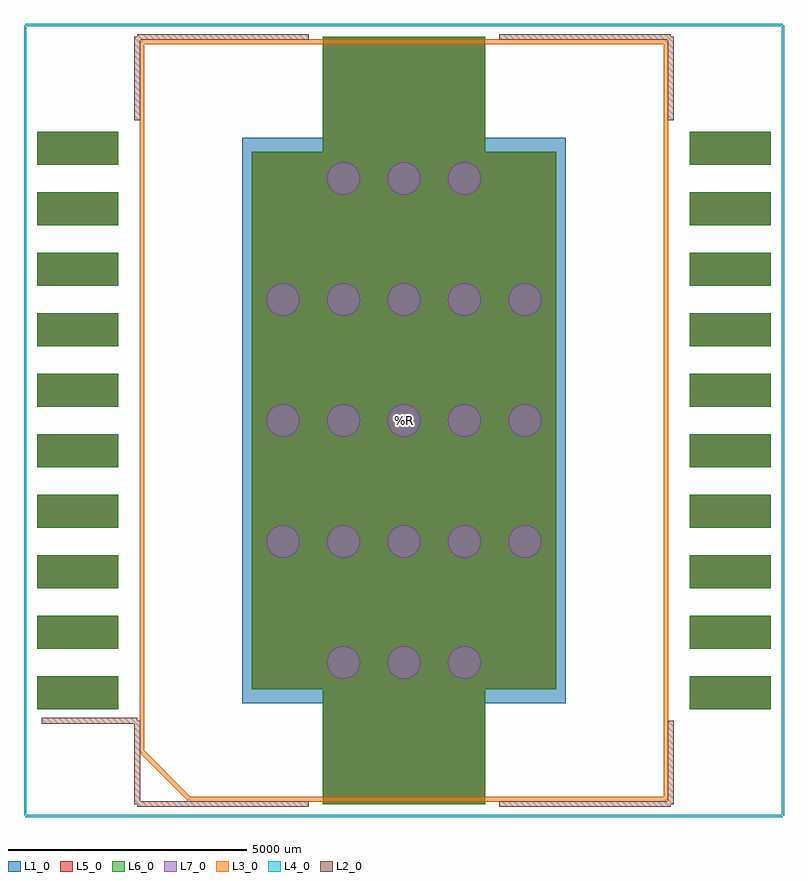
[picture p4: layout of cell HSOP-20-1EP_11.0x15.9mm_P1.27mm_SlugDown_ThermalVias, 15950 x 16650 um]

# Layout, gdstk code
import gdstk
lib = gdstk.Library(unit=1e-6, precision=1e-09)
def R(c, l, rs):  # rectangles x0, y0, x1, y1
    for r in rs: c.add(gdstk.rectangle(r[:2], r[2:], *l))
def A(c, l, x, y, w, h, nx, ny, dx, dy):  # array of equal rectangles
    R(c, l, [(x+i*dx, y+j*dy, x+i*dx+w, y+j*dy+h) for i in range(nx) for j in range(ny)])
def P(c, l, *ps):  # polygons
    for p in ps: c.add(gdstk.Polygon(p, *l))
L1_0 = (1, 0)
L2_0 = (2, 0)
L3_0 = (3, 0)
L4_0 = (4, 0)
L5_0 = (5, 0)
L6_0 = (6, 0)
L7_0 = (7, 0)

hsop_20_1ep_11_0x15_9mm_ = lib.new_cell('HSOP-20-1EP_11.0x15.9mm_P1.27mm_SlugDown_ThermalVias')
A(hsop_20_1ep_11_0x15_9mm_, L1_0, -7700, -6065, 1700, 700, 1, 10, 0, 1270)
A(hsop_20_1ep_11_0x15_9mm_, L1_0, 6000, -6065, 1700, 700, 1, 10, 0, 1270)
R(hsop_20_1ep_11_0x15_9mm_, L1_0, [(-1700,-8050,1700,-5635), (-3390,-5930,3390,5930), (-3200,-5635,3200,5635), (-1700,5635,1700,8050)])
P(hsop_20_1ep_11_0x15_9mm_, L1_0, [(1770,5080),(1732,5271),(1624,5434),(1461,5542),(1270,5580),(1079,5542),(916,5434),(808,5271),(770,5080),(808,4889),(916,4726),(1079,4618),(1270,4580),(1461,4618),(1624,4726),(1732,4889)],
  [(500,5080),(462,5271),(354,5434),(191,5542),(0,5580),(-191,5542),(-354,5434),(-462,5271),(-500,5080),(-462,4889),(-354,4726),(-191,4618),(0,4580),(191,4618),(354,4726),(462,4889)],
  [(-770,5080),(-808,5271),(-916,5434),(-1079,5542),(-1270,5580),(-1461,5542),(-1624,5434),(-1732,5271),(-1770,5080),(-1732,4889),(-1624,4726),(-1461,4618),(-1270,4580),(-1079,4618),(-916,4726),(-808,4889)],
  [(3040,2540),(3002,2731),(2894,2894),(2731,3002),(2540,3040),(2349,3002),(2186,2894),(2078,2731),(2040,2540),(2078,2349),(2186,2186),(2349,2078),(2540,2040),(2731,2078),(2894,2186),(3002,2349)],
  [(1770,2540),(1732,2731),(1624,2894),(1461,3002),(1270,3040),(1079,3002),(916,2894),(808,2731),(770,2540),(808,2349),(916,2186),(1079,2078),(1270,2040),(1461,2078),(1624,2186),(1732,2349)],
  [(500,2540),(462,2731),(354,2894),(191,3002),(0,3040),(-191,3002),(-354,2894),(-462,2731),(-500,2540),(-462,2349),(-354,2186),(-191,2078),(0,2040),(191,2078),(354,2186),(462,2349)],
  [(-770,2540),(-808,2731),(-916,2894),(-1079,3002),(-1270,3040),(-1461,3002),(-1624,2894),(-1732,2731),(-1770,2540),(-1732,2349),(-1624,2186),(-1461,2078),(-1270,2040),(-1079,2078),(-916,2186),(-808,2349)],
  [(-2040,2540),(-2078,2731),(-2186,2894),(-2349,3002),(-2540,3040),(-2731,3002),(-2894,2894),(-3002,2731),(-3040,2540),(-3002,2349),(-2894,2186),(-2731,2078),(-2540,2040),(-2349,2078),(-2186,2186),(-2078,2349)],
  [(3040,0),(3002,191),(2894,354),(2731,462),(2540,500),(2349,462),(2186,354),(2078,191),(2040,0),(2078,-191),(2186,-354),(2349,-462),(2540,-500),(2731,-462),(2894,-354),(3002,-191)],
  [(1770,0),(1732,191),(1624,354),(1461,462),(1270,500),(1079,462),(916,354),(808,191),(770,0),(808,-191),(916,-354),(1079,-462),(1270,-500),(1461,-462),(1624,-354),(1732,-191)],
  [(500,0),(462,191),(354,354),(191,462),(0,500),(-191,462),(-354,354),(-462,191),(-500,0),(-462,-191),(-354,-354),(-191,-462),(0,-500),(191,-462),(354,-354),(462,-191)],
  [(-770,0),(-808,191),(-916,354),(-1079,462),(-1270,500),(-1461,462),(-1624,354),(-1732,191),(-1770,0),(-1732,-191),(-1624,-354),(-1461,-462),(-1270,-500),(-1079,-462),(-916,-354),(-808,-191)],
  [(-2040,0),(-2078,191),(-2186,354),(-2349,462),(-2540,500),(-2731,462),(-2894,354),(-3002,191),(-3040,0),(-3002,-191),(-2894,-354),(-2731,-462),(-2540,-500),(-2349,-462),(-2186,-354),(-2078,-191)],
  [(3040,-2540),(3002,-2349),(2894,-2186),(2731,-2078),(2540,-2040),(2349,-2078),(2186,-2186),(2078,-2349),(2040,-2540),(2078,-2731),(2186,-2894),(2349,-3002),(2540,-3040),(2731,-3002),(2894,-2894),(3002,-2731)],
  [(1770,-2540),(1732,-2349),(1624,-2186),(1461,-2078),(1270,-2040),(1079,-2078),(916,-2186),(808,-2349),(770,-2540),(808,-2731),(916,-2894),(1079,-3002),(1270,-3040),(1461,-3002),(1624,-2894),(1732,-2731)],
  [(500,-2540),(462,-2349),(354,-2186),(191,-2078),(0,-2040),(-191,-2078),(-354,-2186),(-462,-2349),(-500,-2540),(-462,-2731),(-354,-2894),(-191,-3002),(0,-3040),(191,-3002),(354,-2894),(462,-2731)],
  [(-770,-2540),(-808,-2349),(-916,-2186),(-1079,-2078),(-1270,-2040),(-1461,-2078),(-1624,-2186),(-1732,-2349),(-1770,-2540),(-1732,-2731),(-1624,-2894),(-1461,-3002),(-1270,-3040),(-1079,-3002),(-916,-2894),(-808,-2731)],
  [(-2040,-2540),(-2078,-2349),(-2186,-2186),(-2349,-2078),(-2540,-2040),(-2731,-2078),(-2894,-2186),(-3002,-2349),(-3040,-2540),(-3002,-2731),(-2894,-2894),(-2731,-3002),(-2540,-3040),(-2349,-3002),(-2186,-2894),(-2078,-2731)],
  [(1770,-5080),(1732,-4889),(1624,-4726),(1461,-4618),(1270,-4580),(1079,-4618),(916,-4726),(808,-4889),(770,-5080),(808,-5271),(916,-5434),(1079,-5542),(1270,-5580),(1461,-5542),(1624,-5434),(1732,-5271)],
  [(500,-5080),(462,-4889),(354,-4726),(191,-4618),(0,-4580),(-191,-4618),(-354,-4726),(-462,-4889),(-500,-5080),(-462,-5271),(-354,-5434),(-191,-5542),(0,-5580),(191,-5542),(354,-5434),(462,-5271)],
  [(-770,-5080),(-808,-4889),(-916,-4726),(-1079,-4618),(-1270,-4580),(-1461,-4618),(-1624,-4726),(-1732,-4889),(-1770,-5080),(-1732,-5271),(-1624,-5434),(-1461,-5542),(-1270,-5580),(-1079,-5542),(-916,-5434),(-808,-5271)])
A(hsop_20_1ep_11_0x15_9mm_, L5_0, -7700, -6065, 1700, 700, 1, 10, 0, 1270)
A(hsop_20_1ep_11_0x15_9mm_, L5_0, 6000, -6065, 1700, 700, 1, 10, 0, 1270)
R(hsop_20_1ep_11_0x15_9mm_, L5_0, [(-1700,-8050,1700,-5635), (-3200,-5635,3200,5635), (-1700,5635,1700,8050)])
A(hsop_20_1ep_11_0x15_9mm_, L6_0, -7700, -6065, 1700, 700, 1, 10, 0, 1270)
A(hsop_20_1ep_11_0x15_9mm_, L6_0, 6000, -6065, 1700, 700, 1, 10, 0, 1270)
R(hsop_20_1ep_11_0x15_9mm_, L6_0, [(-1700,-8050,1700,-5635), (-3200,-5635,3200,5635), (-1700,5635,1700,8050)])
P(hsop_20_1ep_11_0x15_9mm_, L7_0, [(1620,5080),(1613,5148),(1593,5214),(1561,5274),(1517,5327),(1464,5371),(1404,5403),(1338,5423),(1270,5430),(1202,5423),(1136,5403),(1076,5371),(1023,5327),(979,5274),(947,5214),(927,5148),(920,5080),(927,5012),(947,4946),(979,4886),(1023,4833),(1076,4789),(1136,4757),(1202,4737),(1270,4730),(1338,4737),(1404,4757),(1464,4789),(1517,4833),(1561,4886),(1593,4946),(1613,5012)],
  [(350,5080),(343,5148),(323,5214),(291,5274),(247,5327),(194,5371),(134,5403),(68,5423),(0,5430),(-68,5423),(-134,5403),(-194,5371),(-247,5327),(-291,5274),(-323,5214),(-343,5148),(-350,5080),(-343,5012),(-323,4946),(-291,4886),(-247,4833),(-194,4789),(-134,4757),(-68,4737),(0,4730),(68,4737),(134,4757),(194,4789),(247,4833),(291,4886),(323,4946),(343,5012)],
  [(-920,5080),(-927,5148),(-947,5214),(-979,5274),(-1023,5327),(-1076,5371),(-1136,5403),(-1202,5423),(-1270,5430),(-1338,5423),(-1404,5403),(-1464,5371),(-1517,5327),(-1561,5274),(-1593,5214),(-1613,5148),(-1620,5080),(-1613,5012),(-1593,4946),(-1561,4886),(-1517,4833),(-1464,4789),(-1404,4757),(-1338,4737),(-1270,4730),(-1202,4737),(-1136,4757),(-1076,4789),(-1023,4833),(-979,4886),(-947,4946),(-927,5012)],
  [(2890,2540),(2883,2608),(2863,2674),(2831,2734),(2787,2787),(2734,2831),(2674,2863),(2608,2883),(2540,2890),(2472,2883),(2406,2863),(2346,2831),(2293,2787),(2249,2734),(2217,2674),(2197,2608),(2190,2540),(2197,2472),(2217,2406),(2249,2346),(2293,2293),(2346,2249),(2406,2217),(2472,2197),(2540,2190),(2608,2197),(2674,2217),(2734,2249),(2787,2293),(2831,2346),(2863,2406),(2883,2472)],
  [(1620,2540),(1613,2608),(1593,2674),(1561,2734),(1517,2787),(1464,2831),(1404,2863),(1338,2883),(1270,2890),(1202,2883),(1136,2863),(1076,2831),(1023,2787),(979,2734),(947,2674),(927,2608),(920,2540),(927,2472),(947,2406),(979,2346),(1023,2293),(1076,2249),(1136,2217),(1202,2197),(1270,2190),(1338,2197),(1404,2217),(1464,2249),(1517,2293),(1561,2346),(1593,2406),(1613,2472)],
  [(350,2540),(343,2608),(323,2674),(291,2734),(247,2787),(194,2831),(134,2863),(68,2883),(0,2890),(-68,2883),(-134,2863),(-194,2831),(-247,2787),(-291,2734),(-323,2674),(-343,2608),(-350,2540),(-343,2472),(-323,2406),(-291,2346),(-247,2293),(-194,2249),(-134,2217),(-68,2197),(0,2190),(68,2197),(134,2217),(194,2249),(247,2293),(291,2346),(323,2406),(343,2472)],
  [(-920,2540),(-927,2608),(-947,2674),(-979,2734),(-1023,2787),(-1076,2831),(-1136,2863),(-1202,2883),(-1270,2890),(-1338,2883),(-1404,2863),(-1464,2831),(-1517,2787),(-1561,2734),(-1593,2674),(-1613,2608),(-1620,2540),(-1613,2472),(-1593,2406),(-1561,2346),(-1517,2293),(-1464,2249),(-1404,2217),(-1338,2197),(-1270,2190),(-1202,2197),(-1136,2217),(-1076,2249),(-1023,2293),(-979,2346),(-947,2406),(-927,2472)],
  [(-2190,2540),(-2197,2608),(-2217,2674),(-2249,2734),(-2293,2787),(-2346,2831),(-2406,2863),(-2472,2883),(-2540,2890),(-2608,2883),(-2674,2863),(-2734,2831),(-2787,2787),(-2831,2734),(-2863,2674),(-2883,2608),(-2890,2540),(-2883,2472),(-2863,2406),(-2831,2346),(-2787,2293),(-2734,2249),(-2674,2217),(-2608,2197),(-2540,2190),(-2472,2197),(-2406,2217),(-2346,2249),(-2293,2293),(-2249,2346),(-2217,2406),(-2197,2472)],
  [(2890,0),(2883,68),(2863,134),(2831,194),(2787,247),(2734,291),(2674,323),(2608,343),(2540,350),(2472,343),(2406,323),(2346,291),(2293,247),(2249,194),(2217,134),(2197,68),(2190,0),(2197,-68),(2217,-134),(2249,-194),(2293,-247),(2346,-291),(2406,-323),(2472,-343),(2540,-350),(2608,-343),(2674,-323),(2734,-291),(2787,-247),(2831,-194),(2863,-134),(2883,-68)],
  [(1620,0),(1613,68),(1593,134),(1561,194),(1517,247),(1464,291),(1404,323),(1338,343),(1270,350),(1202,343),(1136,323),(1076,291),(1023,247),(979,194),(947,134),(927,68),(920,0),(927,-68),(947,-134),(979,-194),(1023,-247),(1076,-291),(1136,-323),(1202,-343),(1270,-350),(1338,-343),(1404,-323),(1464,-291),(1517,-247),(1561,-194),(1593,-134),(1613,-68)],
  [(350,0),(343,68),(323,134),(291,194),(247,247),(194,291),(134,323),(68,343),(0,350),(-68,343),(-134,323),(-194,291),(-247,247),(-291,194),(-323,134),(-343,68),(-350,0),(-343,-68),(-323,-134),(-291,-194),(-247,-247),(-194,-291),(-134,-323),(-68,-343),(0,-350),(68,-343),(134,-323),(194,-291),(247,-247),(291,-194),(323,-134),(343,-68)],
  [(-920,0),(-927,68),(-947,134),(-979,194),(-1023,247),(-1076,291),(-1136,323),(-1202,343),(-1270,350),(-1338,343),(-1404,323),(-1464,291),(-1517,247),(-1561,194),(-1593,134),(-1613,68),(-1620,0),(-1613,-68),(-1593,-134),(-1561,-194),(-1517,-247),(-1464,-291),(-1404,-323),(-1338,-343),(-1270,-350),(-1202,-343),(-1136,-323),(-1076,-291),(-1023,-247),(-979,-194),(-947,-134),(-927,-68)],
  [(-2190,0),(-2197,68),(-2217,134),(-2249,194),(-2293,247),(-2346,291),(-2406,323),(-2472,343),(-2540,350),(-2608,343),(-2674,323),(-2734,291),(-2787,247),(-2831,194),(-2863,134),(-2883,68),(-2890,0),(-2883,-68),(-2863,-134),(-2831,-194),(-2787,-247),(-2734,-291),(-2674,-323),(-2608,-343),(-2540,-350),(-2472,-343),(-2406,-323),(-2346,-291),(-2293,-247),(-2249,-194),(-2217,-134),(-2197,-68)],
  [(2890,-2540),(2883,-2472),(2863,-2406),(2831,-2346),(2787,-2293),(2734,-2249),(2674,-2217),(2608,-2197),(2540,-2190),(2472,-2197),(2406,-2217),(2346,-2249),(2293,-2293),(2249,-2346),(2217,-2406),(2197,-2472),(2190,-2540),(2197,-2608),(2217,-2674),(2249,-2734),(2293,-2787),(2346,-2831),(2406,-2863),(2472,-2883),(2540,-2890),(2608,-2883),(2674,-2863),(2734,-2831),(2787,-2787),(2831,-2734),(2863,-2674),(2883,-2608)],
  [(1620,-2540),(1613,-2472),(1593,-2406),(1561,-2346),(1517,-2293),(1464,-2249),(1404,-2217),(1338,-2197),(1270,-2190),(1202,-2197),(1136,-2217),(1076,-2249),(1023,-2293),(979,-2346),(947,-2406),(927,-2472),(920,-2540),(927,-2608),(947,-2674),(979,-2734),(1023,-2787),(1076,-2831),(1136,-2863),(1202,-2883),(1270,-2890),(1338,-2883),(1404,-2863),(1464,-2831),(1517,-2787),(1561,-2734),(1593,-2674),(1613,-2608)],
  [(350,-2540),(343,-2472),(323,-2406),(291,-2346),(247,-2293),(194,-2249),(134,-2217),(68,-2197),(0,-2190),(-68,-2197),(-134,-2217),(-194,-2249),(-247,-2293),(-291,-2346),(-323,-2406),(-343,-2472),(-350,-2540),(-343,-2608),(-323,-2674),(-291,-2734),(-247,-2787),(-194,-2831),(-134,-2863),(-68,-2883),(0,-2890),(68,-2883),(134,-2863),(194,-2831),(247,-2787),(291,-2734),(323,-2674),(343,-2608)],
  [(-920,-2540),(-927,-2472),(-947,-2406),(-979,-2346),(-1023,-2293),(-1076,-2249),(-1136,-2217),(-1202,-2197),(-1270,-2190),(-1338,-2197),(-1404,-2217),(-1464,-2249),(-1517,-2293),(-1561,-2346),(-1593,-2406),(-1613,-2472),(-1620,-2540),(-1613,-2608),(-1593,-2674),(-1561,-2734),(-1517,-2787),(-1464,-2831),(-1404,-2863),(-1338,-2883),(-1270,-2890),(-1202,-2883),(-1136,-2863),(-1076,-2831),(-1023,-2787),(-979,-2734),(-947,-2674),(-927,-2608)],
  [(-2190,-2540),(-2197,-2472),(-2217,-2406),(-2249,-2346),(-2293,-2293),(-2346,-2249),(-2406,-2217),(-2472,-2197),(-2540,-2190),(-2608,-2197),(-2674,-2217),(-2734,-2249),(-2787,-2293),(-2831,-2346),(-2863,-2406),(-2883,-2472),(-2890,-2540),(-2883,-2608),(-2863,-2674),(-2831,-2734),(-2787,-2787),(-2734,-2831),(-2674,-2863),(-2608,-2883),(-2540,-2890),(-2472,-2883),(-2406,-2863),(-2346,-2831),(-2293,-2787),(-2249,-2734),(-2217,-2674),(-2197,-2608)],
  [(1620,-5080),(1613,-5012),(1593,-4946),(1561,-4886),(1517,-4833),(1464,-4789),(1404,-4757),(1338,-4737),(1270,-4730),(1202,-4737),(1136,-4757),(1076,-4789),(1023,-4833),(979,-4886),(947,-4946),(927,-5012),(920,-5080),(927,-5148),(947,-5214),(979,-5274),(1023,-5327),(1076,-5371),(1136,-5403),(1202,-5423),(1270,-5430),(1338,-5423),(1404,-5403),(1464,-5371),(1517,-5327),(1561,-5274),(1593,-5214),(1613,-5148)],
  [(350,-5080),(343,-5012),(323,-4946),(291,-4886),(247,-4833),(194,-4789),(134,-4757),(68,-4737),(0,-4730),(-68,-4737),(-134,-4757),(-194,-4789),(-247,-4833),(-291,-4886),(-323,-4946),(-343,-5012),(-350,-5080),(-343,-5148),(-323,-5214),(-291,-5274),(-247,-5327),(-194,-5371),(-134,-5403),(-68,-5423),(0,-5430),(68,-5423),(134,-5403),(194,-5371),(247,-5327),(291,-5274),(323,-5214),(343,-5148)],
  [(-920,-5080),(-927,-5012),(-947,-4946),(-979,-4886),(-1023,-4833),(-1076,-4789),(-1136,-4757),(-1202,-4737),(-1270,-4730),(-1338,-4737),(-1404,-4757),(-1464,-4789),(-1517,-4833),(-1561,-4886),(-1593,-4946),(-1613,-5012),(-1620,-5080),(-1613,-5148),(-1593,-5214),(-1561,-5274),(-1517,-5327),(-1464,-5371),(-1404,-5403),(-1338,-5423),(-1270,-5430),(-1202,-5423),(-1136,-5403),(-1076,-5371),(-1023,-5327),(-979,-5274),(-947,-5214),(-927,-5148)])
hsop_20_1ep_11_0x15_9mm_.add(gdstk.FlexPath([(5600,-8050),(5600,-6300)], 120, ends="flush", simple_path=True, layer=2, datatype=0))  # L2_0
hsop_20_1ep_11_0x15_9mm_.add(gdstk.FlexPath([(5600,8050),(5600,6300)], 120, ends="flush", simple_path=True, layer=2, datatype=0))  # L2_0
hsop_20_1ep_11_0x15_9mm_.add(gdstk.FlexPath([(-2000,8050),(-5600,8050)], 120, ends="flush", simple_path=True, layer=2, datatype=0))  # L2_0
hsop_20_1ep_11_0x15_9mm_.add(gdstk.FlexPath([(-5600,8050),(-5600,6300)], 120, ends="flush", simple_path=True, layer=2, datatype=0))  # L2_0
hsop_20_1ep_11_0x15_9mm_.add(gdstk.FlexPath([(5600,-8050),(2000,-8050)], 120, ends="flush", simple_path=True, layer=2, datatype=0))  # L2_0
hsop_20_1ep_11_0x15_9mm_.add(gdstk.FlexPath([(-5600,-8050),(-5600,-6300)], 120, ends="flush", simple_path=True, layer=2, datatype=0))  # L2_0
hsop_20_1ep_11_0x15_9mm_.add(gdstk.FlexPath([(-5600,-6300),(-7600,-6300)], 120, ends="flush", simple_path=True, layer=2, datatype=0))  # L2_0
hsop_20_1ep_11_0x15_9mm_.add(gdstk.FlexPath([(-5500,7950),(5500,7950)], 100, ends="flush", simple_path=True, layer=3, datatype=0))  # L3_0
hsop_20_1ep_11_0x15_9mm_.add(gdstk.FlexPath([(5500,7950),(5500,-7950)], 100, ends="flush", simple_path=True, layer=3, datatype=0))  # L3_0
hsop_20_1ep_11_0x15_9mm_.add(gdstk.FlexPath([(5500,-7950),(-4500,-7950)], 100, ends="flush", simple_path=True, layer=3, datatype=0))  # L3_0
hsop_20_1ep_11_0x15_9mm_.add(gdstk.FlexPath([(-4500,-7950),(-5500,-6950)], 100, ends="flush", simple_path=True, layer=3, datatype=0))  # L3_0
hsop_20_1ep_11_0x15_9mm_.add(gdstk.FlexPath([(-5500,-6950),(-5500,7950)], 100, ends="flush", simple_path=True, layer=3, datatype=0))  # L3_0
hsop_20_1ep_11_0x15_9mm_.add(gdstk.FlexPath([(-7950,-8300),(7950,-8300)], 50, ends="flush", simple_path=True, layer=4, datatype=0))  # L4_0
hsop_20_1ep_11_0x15_9mm_.add(gdstk.FlexPath([(-7950,-8300),(-7950,8300)], 50, ends="flush", simple_path=True, layer=4, datatype=0))  # L4_0
hsop_20_1ep_11_0x15_9mm_.add(gdstk.FlexPath([(7950,8300),(7950,-8300)], 50, ends="flush", simple_path=True, layer=4, datatype=0))  # L4_0
hsop_20_1ep_11_0x15_9mm_.add(gdstk.FlexPath([(7950,8300),(-7950,8300)], 50, ends="flush", simple_path=True, layer=4, datatype=0))  # L4_0
hsop_20_1ep_11_0x15_9mm_.add(gdstk.FlexPath([(-2000,-8050),(-5600,-8050)], 120, ends="flush", simple_path=True, layer=2, datatype=0))  # L2_0
hsop_20_1ep_11_0x15_9mm_.add(gdstk.FlexPath([(5600,8050),(2000,8050)], 120, ends="flush", simple_path=True, layer=2, datatype=0))  # L2_0
hsop_20_1ep_11_0x15_9mm_.add(gdstk.Label('REF**', (0,-9000), layer=2, texttype=0))
hsop_20_1ep_11_0x15_9mm_.add(gdstk.Label('HSOP-20-1EP_11.0x15.9mm_P1.27mm_SlugDown_ThermalVias', (0,9000), layer=3, texttype=0))
hsop_20_1ep_11_0x15_9mm_.add(gdstk.Label('%R', (0,0), layer=3, texttype=0))

lib.write_gds('HSOP-20-1EP_11.0x15.9mm_P1.27mm_SlugDown_ThermalVias.gds')
